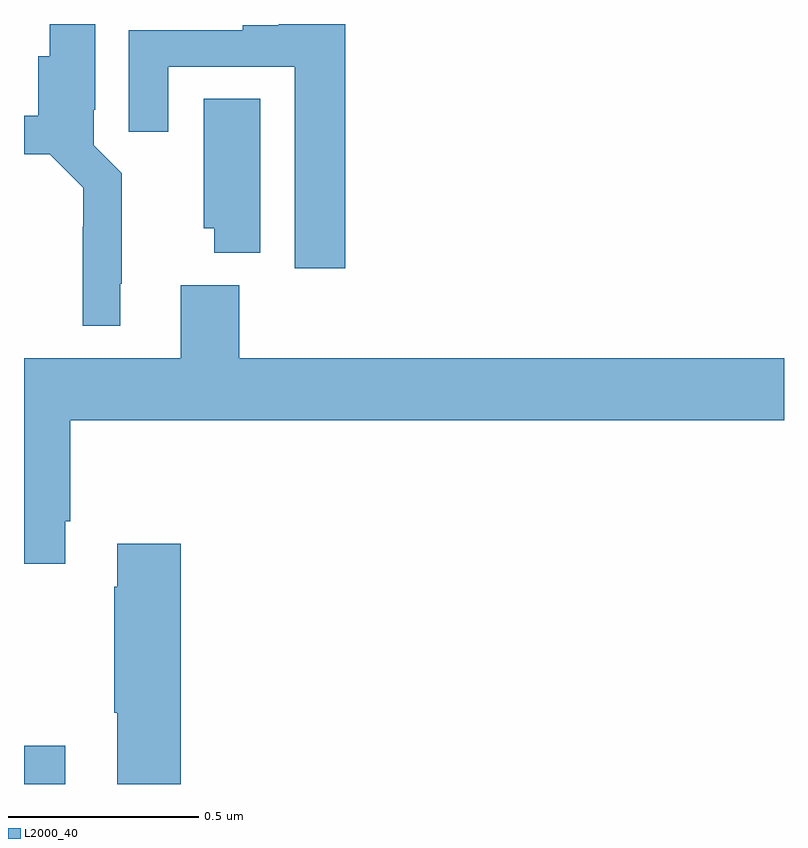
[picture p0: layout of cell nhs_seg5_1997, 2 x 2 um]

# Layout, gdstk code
import gdstk
lib = gdstk.Library(unit=1e-6, precision=1e-09)
def R(c, l, rs):  # rectangles x0, y0, x1, y1
    for r in rs: c.add(gdstk.rectangle(r[:2], r[2:], *l))
def P(c, l, *ps):  # polygons
    for p in ps: c.add(gdstk.Polygon(p, *l))
L2000_40 = (2000, 40)

nhs_seg5_1997 = lib.new_cell('nhs_seg5_1997')
R(nhs_seg5_1997, L2000_40, [(138,859.799,138.109,859.9)])
P(nhs_seg5_1997, L2000_40, [(138.845,861.799),(138.671,861.799),(138.671,861.796),(138.575,861.796),(138.575,861.783),(138.275,861.783),(138.275,861.516),(138.379,861.516),(138.379,861.687),(138.713,861.687),(138.713,861.156),(138.845,861.156)],
  [(138.253,861.115),(138.257,861.115),(138.257,861.406),(138.183,861.48),(138.183,861.574),(138.187,861.574),(138.187,861.799),(138.068,861.799),(138.068,861.714),(138.038,861.714),(138.038,861.557),(138,861.557),(138,861.456),(138.068,861.456),(138.156,861.368),(138.156,861.266),(138.155,861.266),(138.155,861.005),(138.253,861.005)],
  [(138.622,861.602),(138.473,861.602),(138.473,861.261),(138.5,861.261),(138.5,861.197),(138.622,861.197)],
  [(138.109,860.491),(138.122,860.491),(138.122,860.756),(140,860.756),(140,860.92),(138.566,860.92),(138.566,861.112),(138.413,861.112),(138.413,860.92),(138,860.92),(138,860.379),(138.109,860.379)],
  [(138.413,860.431),(138.245,860.431),(138.245,860.318),(138.238,860.318),(138.238,859.987),(138.245,859.987),(138.245,859.799),(138.413,859.799)])

lib.write_gds('nhs_seg5_1997.gds')
